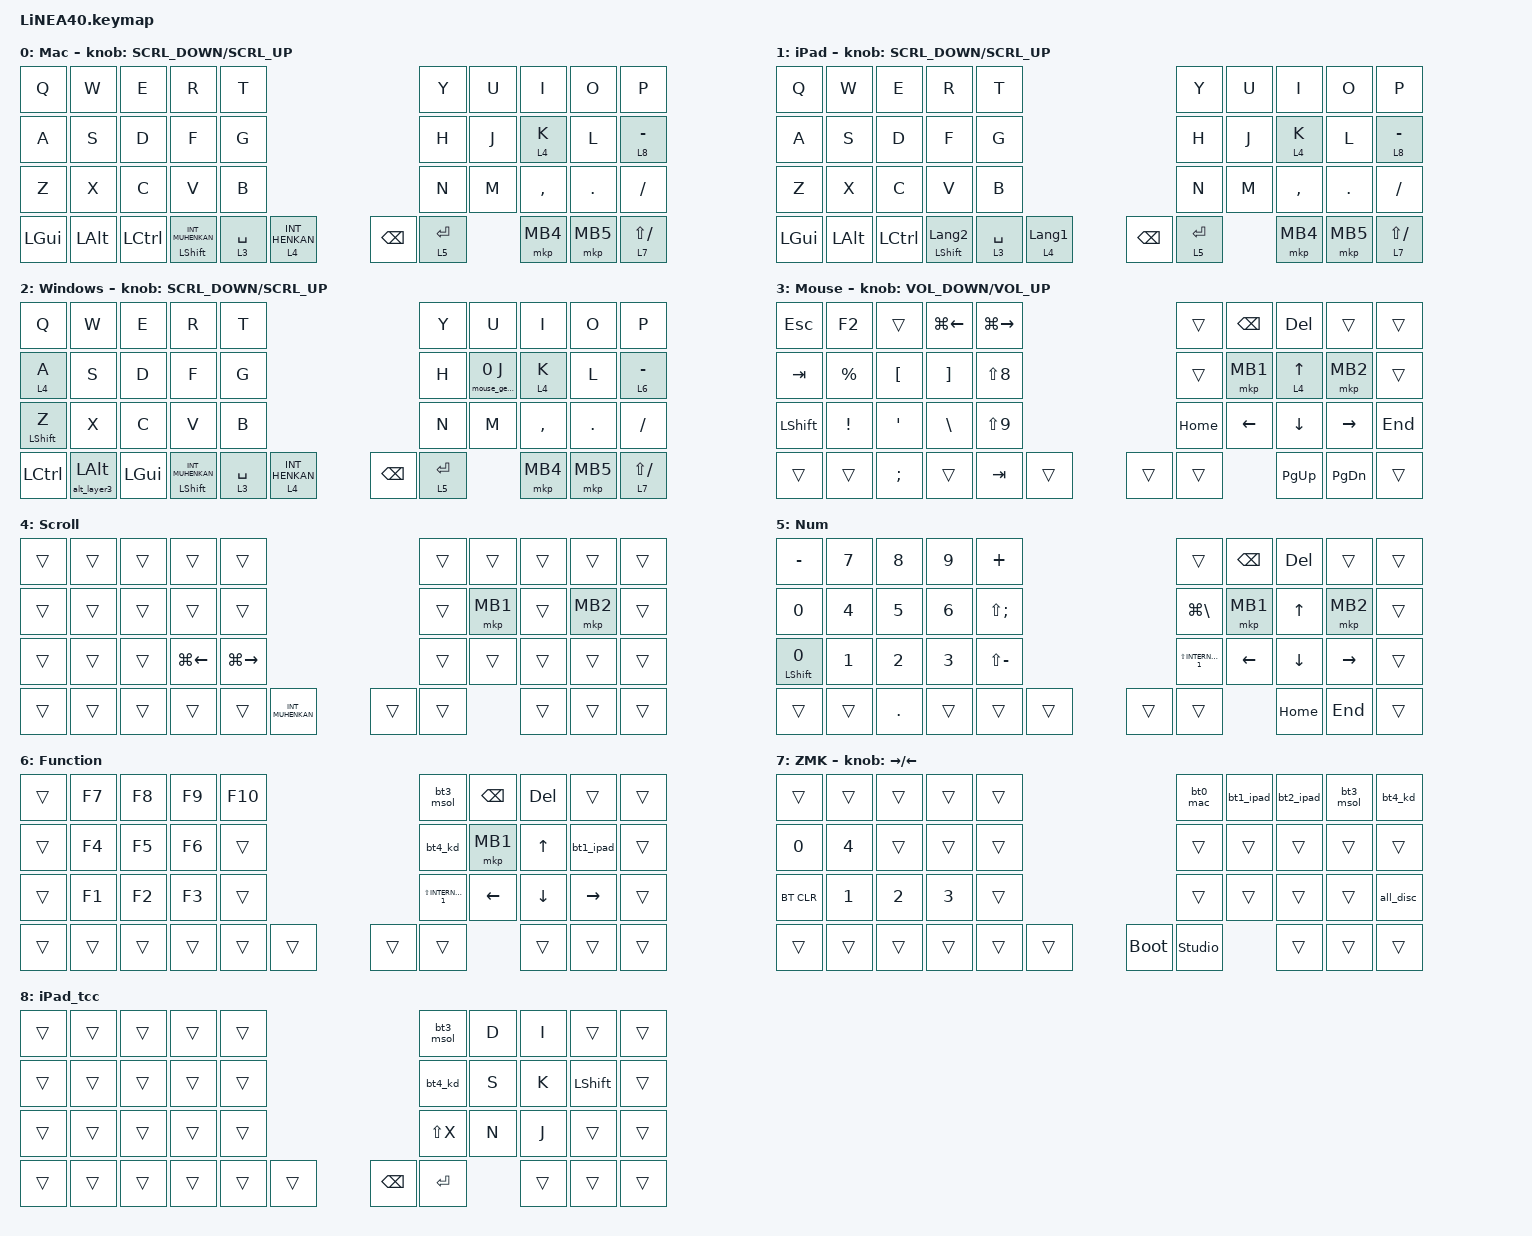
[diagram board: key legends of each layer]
#undef ZMK_POINTING_DEFAULT_SCRL_VAL
#define ZMK_POINTING_DEFAULT_SCRL_VAL 50

#include <scroll-snap.dtsi>
#include <input/processors.dtsi>
#include <dt-bindings/zmk/input_transform.h>
#include <mouse-gesture.dtsi>
#include <zephyr/dt-bindings/input/input-event-codes.h>

#include <behaviors.dtsi>
#include <dt-bindings/zmk/bt.h>
#include <dt-bindings/zmk/keys.h>
#include <dt-bindings/zmk/pointing.h>

#define MOUSE 3
#define SCROLL 4
#define FUNCTION 6
#define WIRELESS 7

/* スクロールスナップ設定 */
&zip_scroll_snap {
    x-threshold = <5 8>;
    y-threshold = <8 5>;
    xy-threshold = <5 8>;
    require-n-samples = <10>;
    immediate-snap-threshold = <1500>;
    lock-duration-ms = <200>;
    lock-for-next-n-events = <10>;
    idle-reset-timeout-ms = <200>;
};

/* マウスジェスチャー */
&zip_mouse_gesture {
    stroke-size = <150>;
    enable-eager-mode;

    history_back {
        pattern = <GESTURE_RIGHT>;
        bindings = <&kp LA(LEFT)>;
    };

    history_forward {
        pattern = <GESTURE_LEFT>;
        bindings = <&kp LA(RIGHT)>;
    };

    close_tab {
        pattern = <GESTURE_DOWN GESTURE_RIGHT>;
        bindings = <&kp LA(F4)>;
    };

    new_tab {
        pattern = <GESTURE_DOWN GESTURE_LEFT>;
        bindings = <&kp LC(T)>;
    };

    app_switcher {
        pattern = <GESTURE_DOWN GESTURE_UP>;
        bindings = <&kp LG(TAB)>;
    };

    virtual_desktop_prev {
        pattern = <GESTURE_LEFT GESTURE_DOWN>;
        bindings = <&kp LG(LC(LEFT))>;
    };

    virtual_desktop_next {
        pattern = <GESTURE_RIGHT GESTURE_DOWN>;
        bindings = <&kp LG(LC(RIGHT))>;
    };
};



//mouse cursol
&mmv {
    delay-ms = <20>;
    trigger-period-ms = <5>;
    time-to-max-speed-ms = <100>;
    acceleration-exponent = <2>;
};

//mouse scroll
&msc {
    delay-ms = <3>;
    trigger-period-ms = <3>;
    time-to-max-speed-ms = <100>;
    acceleration-exponent = <0>;
};

/ {
    input_processors {
        zip_wheel_scaler: zip_wheel_scaler {
            compatible = "zmk,input-processor-scaler";
            #input-processor-cells = <2>;
            type = <INPUT_EV_REL>;
            codes = <INPUT_REL_WHEEL>;
            track-remainders;
        };
    };
};

&msc_input_listener {
    speed_up {
        layers = <FUNCTION>;
        input-processors = <&zip_wheel_scaler 3 1>; //スクロールを3倍速にする
    };
};

&mouse_gesture_kp {
    tapping-term-ms = <200>;
    quick-tap-ms = <250>;
    flavor = "balanced";
};

&mouse_gesture_mkp {
    tapping-term-ms = <200>;
    quick-tap-ms = <250>;
    flavor = "balanced";
};

/ {
    combos {
        compatible = "zmk,combos";

        mb1 {
            bindings = <&mkp MB1>;
            key-positions = <16 17>;
            timeout-ms = <100>;
            layers = <0 1 2>;
        };

        mb2 {
            bindings = <&mkp MB2>;
            key-positions = <17 18>;
            timeout-ms = <100>;
            layers = <0 1 2>;
        };

        app_switch {
            bindings = <&kp F3>;
            key-positions = <12 11>;
            timeout-ms = <100>;
            layers = <0>;
        };

        muhenkan {
            bindings = <&kp INT_MUHENKAN>;
            key-positions = <35 10>;
        };
    };

    behaviors {
        re_kp: sensor_rotate_kp {
            compatible = "zmk,behavior-sensor-rotate-var";
            #sensor-binding-cells = <2>;
            bindings = <&kp>, <&kp>;
        };

        mouse_scrl: mouse_wheel_scrl {
            compatible = "zmk,behavior-sensor-rotate-var";
            #sensor-binding-cells = <2>;
            bindings = <&msc>, <&msc>;

            tap-ms = <20>;
        };

        tog_on: toggle_layer_on_only {
            compatible = "zmk,behavior-toggle-layer";
            #binding-cells = <1>;
        };

        tog_off: toggle_layer_off_only {
            compatible = "zmk,behavior-toggle-layer";
            #binding-cells = <1>;
            toggle-mode = "off";
        };

        td_mhenkan: tap_dance_mhenkan {
            compatible = "zmk,behavior-tap-dance";
            label = "TD_MHENKAN";
            #binding-cells = <0>;

            // ダブルタップ判定時間（お好みで）

            tapping-term-ms = <220>;

            // 1タップ → 無変換, 2タップ → 変換

            bindings = <
                &kp INT_MUHENKAN
                &kp INT_HENKAN
            >;
        };

        /* ここから追加：ホールドでレイヤー + タップで上のタップダンス */

        lt_mhenkan: layer_tap_mhenkan {
            compatible = "zmk,behavior-hold-tap";
            label = "LAYER_TAP_MHENKAN";

            // ※ hold-tap は #binding-cells = <2> 固定

            #binding-cells = <2>;
            flavor = "tap-preferred";
            tapping-term-ms = <180>;
            quick-tap-ms = <0>;

            // hold側: &mo (レイヤー一時有効)
            // tap側: さっきの tap-dance

            bindings = <&mo>, <&td_mhenkan>;
        };

        alt3_ht: alt3_hold_tap {
            compatible = "zmk,behavior-hold-tap";
            label = "ALT3_HOLD_TAP";
            #binding-cells = <2>;
            flavor = "hold-preferred";
            tapping-term-ms = <200>;
            quick-tap-ms = <0>;

            // hold 側: Alt+Layer3 マクロ
            // tap 側: 通常の &kp

            bindings = <&alt_layer3>, <&kp>;
        };

        mt_long: mod_tap_long {
            compatible = "zmk,behavior-hold-tap";
            label = "MOD_TAP_LONG";
            #binding-cells = <2>;
            /* ↓ ここで判定時間を延ばす (例: 300ms) */
            tapping-term-ms = <350>;
            /* ↓ 連続入力時の誤爆を防ぐ設定 */
            quick-tap-ms = <200>;
            /* ↓ 文字キーには "tap-preferred" がおすすめ */
            flavor = "tap-preferred";
            bindings = <&kp>, <&kp>;
        };
    };

    macros {
        bt0_mac: bt0_mac {
            compatible = "zmk,behavior-macro";
            #binding-cells = <0>;
            bindings =
                <&tog_off 0 &tog_off 1 &tog_off 2>,
                <&macro_wait_time 200>,
                <&bt BT_SEL 0>,
                <&macro_wait_time 500>,
                <&tog_on 0>;

            label = "BT0_MAC";
        };

        bt1_ipad: bt1_ipad {
            compatible = "zmk,behavior-macro";
            #binding-cells = <0>;
            bindings =
                <&tog_off 0 &tog_off 1 &tog_off 2>,
                <&macro_wait_time 200>,
                <&bt BT_SEL 1>,
                <&macro_wait_time 500>,
                <&tog_on 1>;

            label = "BT1_IPAD";
        };

        bt2_ipad: bt2_ipad {
            compatible = "zmk,behavior-macro";
            #binding-cells = <0>;
            bindings =
                <&tog_off 0 &tog_off 1 &tog_off 2>,
                <&macro_wait_time 200>,
                <&bt BT_SEL 2>,
                <&macro_wait_time 500>,
                <&tog_on 1>;

            label = "BT2_IPAD";
        };

        bt3_msol: bt3_msoll_ {
            compatible = "zmk,behavior-macro";
            #binding-cells = <0>;
            bindings =
                <&tog_off 0 &tog_off 1 &tog_off 2>,
                <&macro_wait_time 200>,
                <&bt BT_SEL 3>,
                <&macro_wait_time 500>,
                <&tog_on 2>;

            label = "BT3_MSOLL_";
        };

        bt4_kd: bt4_kd {
            compatible = "zmk,behavior-macro";
            #binding-cells = <0>;
            bindings =
                <&tog_off 0 &tog_off 1 &tog_off 2>,
                <&macro_wait_time 200>,
                <&bt BT_SEL 4>,
                <&macro_wait_time 500>,
                <&tog_on 2>;

            label = "BT4_KD";
        };

        all_disc: all_disc {
            compatible = "zmk,behavior-macro";
            #binding-cells = <0>;
            bindings = <&bt BT_DISC 0 &bt BT_DISC 1 &bt BT_DISC 2 &bt BT_DISC 3 &bt BT_DISC 4>;
            label = "ALL_DISC";
        };

        alt_layer3: alt_layer3 {
            compatible = "zmk,behavior-macro";
            #binding-cells = <0>;
            wait-ms = <0>;
            tap-ms = <0>;

            // 押したときに layer3 + LEFT_ALT を押し、
            // 離したときに両方離す

            bindings =
                <&macro_press>,
                <&mo 3 &kp LEFT_ALT>,
                <&macro_pause_for_release>,
                <&macro_release>,
                <&mo 3 &kp LEFT_ALT>;
        };
    };

    keymap {
        compatible = "zmk,keymap";

        Mac {
            bindings = <
&kp Q         &kp W         &kp E             &kp R                        &kp T                                           &kp Y        &kp U  &kp I      &kp O     &kp P
&kp A         &kp S         &kp D             &kp F                        &kp G                                           &kp H        &kp J  &lt 4 K    &kp L     &lt 8 MINUS
&kp Z         &kp X         &kp C             &kp V                        &kp B                                           &kp N        &kp M  &kp COMMA  &kp DOT   &kp SLASH
&kp LEFT_GUI  &kp LEFT_ALT  &kp LEFT_CONTROL  &mt LEFT_SHIFT INT_MUHENKAN  &lt 3 SPACE  &lt 4 INT_HENKAN    &kp BACKSPACE  &lt 5 ENTER         &mkp MB4   &mkp MB5  &lt 7 LS(SLASH)
            >;

            sensor-bindings = <&mouse_scrl SCRL_DOWN SCRL_UP>;
        };

        iPad {
            bindings = <
&kp Q         &kp W         &kp E             &kp R                      &kp T                                           &kp Y        &kp U  &kp I      &kp O     &kp P
&kp A         &kp S         &kp D             &kp F                      &kp G                                           &kp H        &kp J  &lt 4 K    &kp L     &lt 8 MINUS
&kp Z         &kp X         &kp C             &kp V                      &kp B                                           &kp N        &kp M  &kp COMMA  &kp DOT   &kp SLASH
&kp LEFT_GUI  &kp LEFT_ALT  &kp LEFT_CONTROL  &mt LEFT_SHIFT LANGUAGE_2  &lt 3 SPACE  &lt 4 LANGUAGE_1    &kp BACKSPACE  &lt 5 ENTER         &mkp MB4   &mkp MB5  &lt 7 LS(SLASH)
            >;

            sensor-bindings = <&mouse_scrl SCRL_DOWN SCRL_UP>;
        };

        Windows {
            bindings = <
&kp Q             &kp W                &kp E         &kp R                        &kp T                                           &kp Y        &kp U  &kp I      &kp O     &kp P
&lt 4 A           &kp S                &kp D         &kp F                        &kp G                                           &kp H        &mouse_gesture_kp 0 J  &lt 4 K    &kp L     &lt 6 MINUS
&mt_long LEFT_SHIFT Z   &kp X                &kp C         &kp V                        &kp B                                           &kp N        &kp M  &kp COMMA  &kp DOT   &kp SLASH
&kp LEFT_CONTROL  &alt3_ht 0 LEFT_ALT  &kp LEFT_GUI  &mt LEFT_SHIFT INT_MUHENKAN  &lt 3 SPACE  &lt 4 INT_HENKAN    &kp BACKSPACE  &lt 5 ENTER         &mkp MB4   &mkp MB5  &lt 7 LS(SLASH)
            >;

            sensor-bindings = <&mouse_scrl SCRL_DOWN SCRL_UP>;
        };

        Mouse {
            bindings = <
&kp ESCAPE      &kp F2           &trans            &kp LG(LEFT_ARROW)  &kp LG(RIGHT_ARROW)                    &trans    &kp BACKSPACE   &kp DELETE      &trans           &trans
&kp TAB         &kp PERCENT      &kp LEFT_BRACKET  &kp RIGHT_BRACKET   &kp LS(N8)                             &trans    &mkp MB1        &lt 4 UP_ARROW  &mkp MB2         &trans
&kp LEFT_SHIFT  &kp EXCLAMATION  &kp APOS          &kp BACKSLASH       &kp LS(N9)                             &kp HOME  &kp LEFT_ARROW  &kp DOWN_ARROW  &kp RIGHT_ARROW  &kp END
&trans          &trans           &kp SEMI          &trans              &kp TAB              &trans    &trans  &trans                    &kp PG_UP       &kp PAGE_DOWN    &trans
            >;

            sensor-bindings = <&re_kp C_VOLUME_DOWN C_VOLUME_UP>;
        };

        Scroll {
            bindings = <
&trans  &trans  &trans  &trans              &trans                                           &trans  &trans    &trans  &trans    &trans
&trans  &trans  &trans  &trans              &trans                                           &trans  &mkp MB1  &trans  &mkp MB2  &trans
&trans  &trans  &trans  &kp LG(LEFT_ARROW)  &kp LG(RIGHT_ARROW)                              &trans  &trans    &trans  &trans    &trans
&trans  &trans  &trans  &trans              &trans               &kp INT_MUHENKAN    &trans  &trans            &trans  &trans    &trans
            >;
        };

        Num {
            bindings = <
&kp MINUS          &kp NUMBER_7  &kp NUMBER_8  &kp NUMBER_9  &kp PLUS                         &trans                   &kp BACKSPACE   &kp DELETE    &trans           &trans
&kp NUMBER_0       &kp NUMBER_4  &kp NUMBER_5  &kp NUMBER_6  &kp LS(SEMI)                     &kp LG(BACKSLASH)        &mkp MB1        &kp UP_ARROW  &mkp MB2         &trans
&mt LEFT_SHIFT N0  &kp NUMBER_1  &kp NUMBER_2  &kp NUMBER_3  &kp LS(MINUS)                    &kp LS(INTERNATIONAL_1)  &kp LEFT_ARROW  &kp DOWN      &kp RIGHT_ARROW  &trans
&trans             &trans        &kp PERIOD    &trans        &trans         &trans    &trans  &trans                                   &kp HOME      &kp END          &trans
            >;
        };

        Function {
            bindings = <
&trans  &kp F7  &kp F8  &kp F9  &kp F10                    &bt3_msol                &kp BACKSPACE   &kp DELETE    &trans           &trans
&trans  &kp F4  &kp F5  &kp F6  &trans                     &bt4_kd                  &mkp MB1        &kp UP_ARROW  &bt1_ipad        &trans
&trans  &kp F1  &kp F2  &kp F3  &trans                     &kp LS(INTERNATIONAL_1)  &kp LEFT_ARROW  &kp DOWN      &kp RIGHT_ARROW  &trans
&trans  &trans  &trans  &trans  &trans   &trans    &trans  &trans                                   &trans        &trans           &trans
            >;
        };

        ZMK {
            bindings = <
&trans      &trans        &trans        &trans        &trans                         &bt0_mac        &bt1_ipad  &bt2_ipad  &bt3_msol  &bt4_kd
&kp N0      &kp NUMBER_4  &trans        &trans        &trans                         &trans          &trans     &trans     &trans     &trans
&bt BT_CLR  &kp NUMBER_1  &kp NUMBER_2  &kp NUMBER_3  &trans                         &trans          &trans     &trans     &trans     &all_disc
&trans      &trans        &trans        &trans        &trans  &trans    &bootloader  &studio_unlock             &trans     &trans     &trans
            >;

            sensor-bindings = <&inc_dec_kp RIGHT_ARROW LEFT_ARROW>;
        };

        iPad_tcc {
            bindings = <
&trans  &trans  &trans  &trans  &trans                           &bt3_msol  &kp D  &kp I   &trans          &trans
&trans  &trans  &trans  &trans  &trans                           &bt4_kd    &kp S  &kp K   &kp LEFT_SHIFT  &trans
&trans  &trans  &trans  &trans  &trans                           &kp LS(X)  &kp N  &kp J   &trans          &trans
&trans  &trans  &trans  &trans  &trans  &trans    &kp BACKSPACE  &kp ENTER         &trans  &trans          &trans
            >;
        };
    };
};
